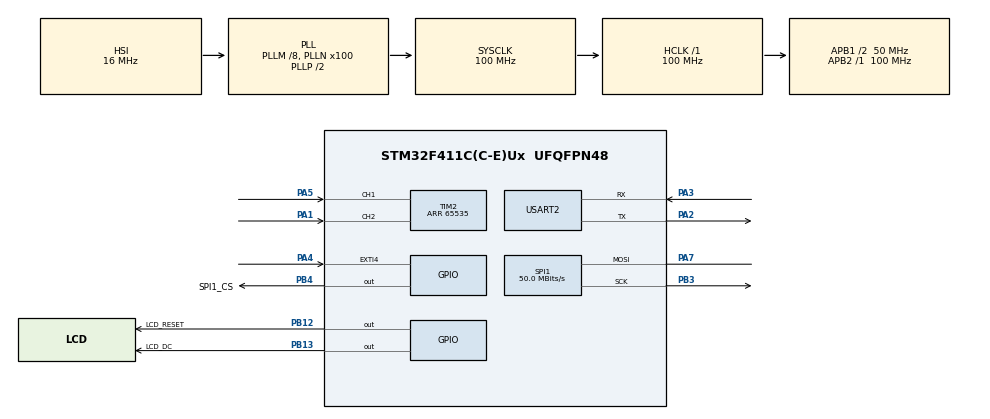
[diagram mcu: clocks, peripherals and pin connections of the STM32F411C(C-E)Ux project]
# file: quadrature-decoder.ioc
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FREERTOS.Tasks01=encoderTask,-3,512,taskEncoder,Default,NULL,Dynamic,NULL,NULL;lcdTask,2,512,taskLCD,Default,NULL,Dynamic,NULL,NULL
Mcu.Family=STM32F4
Mcu.Name=STM32F411C(C-E)Ux
Mcu.Package=UFQFPN48
NVIC.EXTI4_IRQn=true\:15\:0\:true\:false\:true\:true\:true\:true\:true
NVIC.PriorityGroup=NVIC_PRIORITYGROUP_4
PA1.GPIO_PuPd=GPIO_PULLDOWN
PA1.GPIO_Speed=GPIO_SPEED_FREQ_HIGH
PA1.Signal=S_TIM2_CH2
PA13.Mode=Serial_Wire
PA13.Signal=SYS_JTMS-SWDIO
PA14.Mode=Serial_Wire
PA14.Signal=SYS_JTCK-SWCLK
PA2.Mode=Asynchronous
PA2.Signal=USART2_TX
PA3.Mode=Asynchronous
PA3.Signal=USART2_RX
PA4.GPIO_ModeDefaultEXTI=GPIO_MODE_IT_FALLING
PA4.GPIO_PuPd=GPIO_PULLDOWN
PA4.Signal=GPXTI4
PA5.GPIO_PuPd=GPIO_PULLDOWN
PA5.GPIO_Speed=GPIO_SPEED_FREQ_HIGH
PA5.Signal=S_TIM2_CH1_ETR
PA7.Mode=Simplex_Bidirectional_Master
PA7.Signal=SPI1_MOSI
PB12.GPIO_Label=LCD_RESET
PB12.Signal=GPIO_Output
PB13.GPIO_Label=LCD_DC
PB13.Signal=GPIO_Output
PB3.Mode=Simplex_Bidirectional_Master
PB3.Signal=SPI1_SCK
PB4.GPIO_Label=SPI1_CS
PB4.Signal=GPIO_Output
PH0\ -\ OSC_IN.Mode=HSE-External-Oscillator
PH0\ -\ OSC_IN.Signal=RCC_OSC_IN
PH1\ -\ OSC_OUT.Mode=HSE-External-Oscillator
PH1\ -\ OSC_OUT.Signal=RCC_OSC_OUT
ProjectManager.HeapSize=0x200
ProjectManager.StackSize=0x400
ProjectManager.TargetToolchain=STM32CubeIDE
RCC.48MHZClocksFreq_Value=50000000
RCC.AHBFreq_Value=100000000
RCC.APB1CLKDivider=RCC_HCLK_DIV2
RCC.APB1Freq_Value=50000000
RCC.APB1TimFreq_Value=100000000
RCC.APB2Freq_Value=100000000
RCC.APB2TimFreq_Value=100000000
RCC.CortexFreq_Value=100000000
RCC.HCLKFreq_Value=100000000
RCC.HSE_VALUE=25000000
RCC.HSI_VALUE=16000000
RCC.LSE_VALUE=32768
RCC.PLLM=8
RCC.PLLN=100
RCC.SYSCLKFreq_VALUE=100000000
RCC.SYSCLKSource=RCC_SYSCLKSOURCE_PLLCLK
RCC.VCOOutputFreq_Value=200000000
SH.S_TIM2_CH1_ETR.0=TIM2_CH1,Encoder_Interface
SH.S_TIM2_CH2.0=TIM2_CH2,Encoder_Interface
SPI1.CalculateBaudRate=50.0 MBits/s
SPI1.Direction=SPI_DIRECTION_1LINE
SPI1.Mode=SPI_MODE_MASTER
SPI1.VirtualType=VM_MASTER
TIM2.EncoderMode=TIM_ENCODERMODE_TI12
TIM2.IC1Filter=10
TIM2.IC2Filter=10
TIM2.Period=65535
USART2.VirtualMode=VM_ASYNC
VP_FREERTOS_VS_CMSIS_V1.Mode=CMSIS_V1
board=custom

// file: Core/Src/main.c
/* USER CODE BEGIN Header */
/**
 ******************************************************************************
 * @file           : main.c
 * @brief          : Main program body
 ******************************************************************************
 * @attention
 *
 * Copyright (c) 2023 STMicroelectronics.
 * All rights reserved.
 *
 * This software is licensed under terms that can be found in the LICENSE file
 * in the root directory of this software component.
 * If no LICENSE file comes with this software, it is provided AS-IS.
 *
 ******************************************************************************
 */
/* USER CODE END Header */
#include "main.h"
#include "cmsis_os.h"

/* USER CODE BEGIN Includes */
#include <stdio.h>
#include <string.h>
#include <math.h>
/* USER CODE END Includes */

SPI_HandleTypeDef hspi1;

TIM_HandleTypeDef htim2;

UART_HandleTypeDef huart2;

osThreadId encoderTaskHandle;
osThreadId lcdTaskHandle;
/* USER CODE BEGIN PV */

//Counts per rotation
static int cpr = 0;

//Rotation direction
static uint8_t rotation = 0;

//Counts for individual channels
static uint32_t aChannel = 0;
static uint32_t bChannel = 0;
static uint32_t zChannel = 0;

//Counts overflows per second
static int overflowCount = 0;

//RTOS message queue
QueueHandle_t msgQueue;

/* USER CODE END PV */

void SystemClock_Config(void);
static void MX_GPIO_Init(void);
static void MX_TIM2_Init(void);
static void MX_USART2_UART_Init(void);
static void MX_SPI1_Init(void);
void taskEncoder(void const * argument);
void taskLCD(void const * argument);

/* USER CODE BEGIN PFP */
void HAL_GPIO_EXTI_Callback(uint16_t GPIO_Pin);
/* USER CODE END PFP */

int main(void)
{

  /* MCU Configuration--------------------------------------------------------*/

  /* Reset of all peripherals, Initializes the Flash interface and the Systick. */
  HAL_Init();

  /* Configure the system clock */
  SystemClock_Config();

  /* Initialize all configured peripherals */
  MX_GPIO_Init();
  MX_TIM2_Init();
  MX_USART2_UART_Init();
  MX_SPI1_Init();
  /* USER CODE BEGIN 2 */

	ST7735_Init();	//initialise the lcd display
  /* USER CODE END 2 */

  /* Create the thread(s) */
  /* definition and creation of encoderTask */
  osThreadDef(encoderTask, taskEncoder, osPriorityIdle, 0, 512);
  encoderTaskHandle = osThreadCreate(osThread(encoderTask), NULL);

  /* definition and creation of lcdTask */
  osThreadDef(lcdTask, taskLCD, osPriorityHigh, 0, 512);
  lcdTaskHandle = osThreadCreate(osThread(lcdTask), NULL);

  /* Start scheduler */
  osKernelStart();

  /* We should never get here as control is now taken by the scheduler */
  /* Infinite loop */
	while (1) {

	}
}

void SystemClock_Config(void)
{
  RCC_OscInitTypeDef RCC_OscInitStruct = {0};
  RCC_ClkInitTypeDef RCC_ClkInitStruct = {0};

  /** Configure the main internal regulator output voltage
  */
  __HAL_RCC_PWR_CLK_ENABLE();
  __HAL_PWR_VOLTAGESCALING_CONFIG(PWR_REGULATOR_VOLTAGE_SCALE1);

  /** Initializes the RCC Oscillators according to the specified parameters
  * in the RCC_OscInitTypeDef structure.
  */
  RCC_OscInitStruct.OscillatorType = RCC_OSCILLATORTYPE_HSI;
  RCC_OscInitStruct.HSIState = RCC_HSI_ON;
  RCC_OscInitStruct.HSICalibrationValue = RCC_HSICALIBRATION_DEFAULT;
  RCC_OscInitStruct.PLL.PLLState = RCC_PLL_ON;
  RCC_OscInitStruct.PLL.PLLSource = RCC_PLLSOURCE_HSI;
  RCC_OscInitStruct.PLL.PLLM = 8;
  RCC_OscInitStruct.PLL.PLLN = 100;
  RCC_OscInitStruct.PLL.PLLP = RCC_PLLP_DIV2;
  RCC_OscInitStruct.PLL.PLLQ = 4;
  if (HAL_RCC_OscConfig(&RCC_OscInitStruct) != HAL_OK)
  {
    Error_Handler();
  }

  /** Initializes the CPU, AHB and APB buses clocks
  */
  RCC_ClkInitStruct.ClockType = RCC_CLOCKTYPE_HCLK|RCC_CLOCKTYPE_SYSCLK
                              |RCC_CLOCKTYPE_PCLK1|RCC_CLOCKTYPE_PCLK2;
  RCC_ClkInitStruct.SYSCLKSource = RCC_SYSCLKSOURCE_PLLCLK;
  RCC_ClkInitStruct.AHBCLKDivider = RCC_SYSCLK_DIV1;
  RCC_ClkInitStruct.APB1CLKDivider = RCC_HCLK_DIV2;
  RCC_ClkInitStruct.APB2CLKDivider = RCC_HCLK_DIV1;

  if (HAL_RCC_ClockConfig(&RCC_ClkInitStruct, FLASH_LATENCY_3) != HAL_OK)
  {
    Error_Handler();
  }
}

static void MX_SPI1_Init(void)
{

  /* SPI1 parameter configuration*/
  hspi1.Instance = SPI1;
  hspi1.Init.Mode = SPI_MODE_MASTER;
  hspi1.Init.Direction = SPI_DIRECTION_1LINE;
  hspi1.Init.DataSize = SPI_DATASIZE_8BIT;
  hspi1.Init.CLKPolarity = SPI_POLARITY_LOW;
  hspi1.Init.CLKPhase = SPI_PHASE_1EDGE;
  hspi1.Init.NSS = SPI_NSS_SOFT;
  hspi1.Init.BaudRatePrescaler = SPI_BAUDRATEPRESCALER_2;
  hspi1.Init.FirstBit = SPI_FIRSTBIT_MSB;
  hspi1.Init.TIMode = SPI_TIMODE_DISABLE;
  hspi1.Init.CRCCalculation = SPI_CRCCALCULATION_DISABLE;
  hspi1.Init.CRCPolynomial = 10;
  if (HAL_SPI_Init(&hspi1) != HAL_OK)
  {
    Error_Handler();
  }

}

static void MX_TIM2_Init(void)
{

  TIM_Encoder_InitTypeDef sConfig = {0};
  TIM_MasterConfigTypeDef sMasterConfig = {0};

  htim2.Instance = TIM2;
  htim2.Init.Prescaler = 0;
  htim2.Init.CounterMode = TIM_COUNTERMODE_UP;
  htim2.Init.Period = 65535;
  htim2.Init.ClockDivision = TIM_CLOCKDIVISION_DIV1;
  htim2.Init.AutoReloadPreload = TIM_AUTORELOAD_PRELOAD_DISABLE;
  sConfig.EncoderMode = TIM_ENCODERMODE_TI12;
  sConfig.IC1Polarity = TIM_ICPOLARITY_RISING;
  sConfig.IC1Selection = TIM_ICSELECTION_DIRECTTI;
  sConfig.IC1Prescaler = TIM_ICPSC_DIV1;
  sConfig.IC1Filter = 10;
  sConfig.IC2Polarity = TIM_ICPOLARITY_RISING;
  sConfig.IC2Selection = TIM_ICSELECTION_DIRECTTI;
  sConfig.IC2Prescaler = TIM_ICPSC_DIV1;
  sConfig.IC2Filter = 10;
  if (HAL_TIM_Encoder_Init(&htim2, &sConfig) != HAL_OK)
  {
    Error_Handler();
  }
  sMasterConfig.MasterOutputTrigger = TIM_TRGO_RESET;
  sMasterConfig.MasterSlaveMode = TIM_MASTERSLAVEMODE_DISABLE;
  if (HAL_TIMEx_MasterConfigSynchronization(&htim2, &sMasterConfig) != HAL_OK)
  {
    Error_Handler();
  }

}

static void MX_USART2_UART_Init(void)
{

  huart2.Instance = USART2;
  huart2.Init.BaudRate = 115200;
  huart2.Init.WordLength = UART_WORDLENGTH_8B;
  huart2.Init.StopBits = UART_STOPBITS_1;
  huart2.Init.Parity = UART_PARITY_NONE;
  huart2.Init.Mode = UART_MODE_TX_RX;
  huart2.Init.HwFlowCtl = UART_HWCONTROL_NONE;
  huart2.Init.OverSampling = UART_OVERSAMPLING_16;
  if (HAL_UART_Init(&huart2) != HAL_OK)
  {
    Error_Handler();
  }

}

static void MX_GPIO_Init(void)
{
  GPIO_InitTypeDef GPIO_InitStruct = {0};

  /* GPIO Ports Clock Enable */
  __HAL_RCC_GPIOH_CLK_ENABLE();
  __HAL_RCC_GPIOA_CLK_ENABLE();
  __HAL_RCC_GPIOB_CLK_ENABLE();

  /*Configure GPIO pin Output Level */
  HAL_GPIO_WritePin(GPIOB, LCD_RESET_Pin|LCD_DC_Pin|SPI1_CS_Pin, GPIO_PIN_RESET);

  /*Configure GPIO pin : PA4 */
  GPIO_InitStruct.Pin = GPIO_PIN_4;
  GPIO_InitStruct.Mode = GPIO_MODE_IT_FALLING;
  GPIO_InitStruct.Pull = GPIO_PULLDOWN;
  HAL_GPIO_Init(GPIOA, &GPIO_InitStruct);

  /*Configure GPIO pins : LCD_RESET_Pin LCD_DC_Pin SPI1_CS_Pin */
  GPIO_InitStruct.Pin = LCD_RESET_Pin|LCD_DC_Pin|SPI1_CS_Pin;
  GPIO_InitStruct.Mode = GPIO_MODE_OUTPUT_PP;
  GPIO_InitStruct.Pull = GPIO_NOPULL;
  GPIO_InitStruct.Speed = GPIO_SPEED_FREQ_LOW;
  HAL_GPIO_Init(GPIOB, &GPIO_InitStruct);

  /* EXTI interrupt init*/
  HAL_NVIC_SetPriority(EXTI4_IRQn, 15, 0);
  HAL_NVIC_EnableIRQ(EXTI4_IRQn);

}

/* USER CODE BEGIN 4 */

/**
 * @brief GPIO interrupt callback function
 * @param GPIO_Pin the corresponding pin that raised an interrupt
 */
void HAL_GPIO_EXTI_Callback(uint16_t GPIO_Pin) {

	//Check if pin 4 raised the interrupt
	if (GPIO_Pin == GPIO_PIN_4) {

		overflowCount++;
		aChannel = 0;
		bChannel = 0;

		uint32_t count = TIM2->CNT;	//get the timer count

		zChannel++;

		if (rotation == CW_ROTATION) {
			cpr = count;
			__HAL_TIM_SET_COUNTER(&htim2, 0);
		} else if (rotation == CCW_ROTATION) {
			cpr = 65535 - count;
			__HAL_TIM_SET_COUNTER(&htim2, 65535);
		}

		return;
	}
}

/**
 * @brief timer callback function for overflow
 * @param htim timer handle
 */
void HAL_TIM_PeriodElapsedCallback(TIM_HandleTypeDef *htim) {
	overflowCount++;
}

/**
 * @brief draw the border around the screen
 */
void LCD_DrawBorder(void) {
	ST7735_FillScreenFast(RED);
	ST7735_FillRectangleFast(4, 4, ST7735_WIDTH - 4, ST7735_HEIGHT - 4, WHITE);
}

/**
 * @brief draw the start screen of the lcd
 */
void LCD_Start(void) {
	LCD_DrawBorder();	//draw border

	ST7735_WriteString(14, ST7735_HEIGHT / 2 - 7, "Encoder Test", Font_11x18,
			BLACK, WHITE);

	HAL_Delay(2500);

	LCD_DrawBorder();

	ST7735_WriteString(5, 14, "Count:", Font_11x18, BLACK, WHITE);
	LCD_TimerCount(0);

	ST7735_FillRectangleFast(6, 86, 60, 120, WHITE);
	ST7735_WriteString(6, 86, "A:", Font_7x10, BLACK, WHITE);
	ST7735_WriteString(6, 97, "B:", Font_7x10, BLACK, WHITE);
	ST7735_WriteString(6, 108, "Z:", Font_7x10, BLACK, WHITE);

	encoderInstance_t temp;
	temp.aCount = 0;
	temp.bCount = 0;
	temp.zCount = 0;
	LCD_ChannelCount(temp);

	ST7735_WriteString(5, 34, "P.P.R:", Font_11x18, BLACK, WHITE);
	LCD_PulsesPerRotation(0);

	ST7735_WriteString(16, 54, "DIR.:", Font_11x18, BLACK, WHITE);
	LCD_RotationDirection(NO_ROTATION);

	LCD_RpmFreq(0, 0);
	LCD_Degrees(0, 0);
}

/**
 * @brief Update the rpm, frequency
 * @param rpm rotations per minute
 * @param freq frequency of rotation
 * @param count	current encoder count
 */
void LCD_RpmFreq(double rpm, double frequency) {
	char rpmBuf[20], freqBuf[20];
	memset(rpmBuf, 0, sizeof(rpmBuf));
	memset(freqBuf, 0, sizeof(freqBuf));
	sprintf(rpmBuf, "%.1frpm", rpm);
	sprintf(freqBuf, "%.1fHz", frequency);

	ST7735_FillRectangleFast(80, 86, 154, 107, WHITE);
	if ((strlen(rpmBuf) < 10) || (strlen(freqBuf) < 10)) {
		ST7735_WriteString(80, 86, rpmBuf, Font_7x10, BLACK, WHITE);
		ST7735_WriteString(80, 97, freqBuf, Font_7x10, BLACK, WHITE);
	} else {
		ST7735_WriteString(80, 86, "error", Font_7x10, BLACK, WHITE);
		ST7735_WriteString(80, 97, "error", Font_7x10, BLACK, WHITE);
	}

}

/**
 * @brief update the position
 * @param count encoder time count
 * @param pulseRotation pulses per rotation
 */
void LCD_Degrees(int64_t count, int pulseRotation) {

	ST7735_FillRectangleFast(80, 108, 154, 120, WHITE);

	double pos;
	if (pulseRotation != 0) {
		pos = (((double) abs(count) / (double) pulseRotation) * 360);
	} else {
		pos = 0;
	}
	char posBuf[20];
	memset(posBuf, 0, sizeof (posBuf));
	sprintf(posBuf, "%.1fdeg", pos);
	if (strlen(posBuf) < 10) {
		ST7735_WriteString(80, 108, posBuf, Font_7x10, BLACK, WHITE);
	} else {
		ST7735_WriteString(80, 108, "error", Font_7x10, BLACK, WHITE);
	}
}

/**
 * @brief update the rotation direction
 * @param rotation direction
 */
void LCD_RotationDirection(int direction) {
	char *buf;

	if (direction == NO_ROTATION) {
		buf = "NULL";
	} else if (direction == CW_ROTATION) {
		buf = "CW";
	} else {
		buf = "CCW";
	}

	ST7735_FillRectangleFast(80, 54, 130, 74, WHITE);
	ST7735_WriteString(80, 54, buf, Font_11x18, BLACK, WHITE);
}

/**
 * @brief update the pulses per rotation
 * @param pulses pulses per rotation
 */
void LCD_PulsesPerRotation(int pulses) {
	char buffer[10];
	memset(buffer, 0, sizeof(buffer));
	sprintf(buffer, "%d", pulses);

	uint8_t len = strlen(buffer);
	uint8_t pos = (int) (90 - (len - 1) / 2 * 11);

	ST7735_FillRectangleFast(69, 34, 140, 56, WHITE);
	ST7735_WriteString(pos, 34, buffer, Font_11x18, BLACK, WHITE);
}

/**
 * @brief update the timer count
 */
void LCD_TimerCount(int64_t count) {
	char buffer[6];
	memset(buffer, 0, sizeof(buffer));
	sprintf(buffer, "%ld", count);

	uint8_t len = strlen(buffer);
	uint8_t pos = (int) (90 - (len - 1) / 2 * 11);

	ST7735_FillRectangleFast(70, 14, 140, 32, WHITE);
	ST7735_WriteString(pos, 14, buffer, Font_11x18, BLACK, WHITE);
}

/**
 * @brief update the channel counts
 * @param data msg struct
 */
void LCD_ChannelCount(encoderInstance_t data) {
	char buffer[5];
	memset(buffer, 0, sizeof(buffer));
	ST7735_FillRectangleFast(24, 86, 75, 120, WHITE);

	sprintf(buffer, "%ld", data.aCount);
	ST7735_WriteString(24, 86, buffer, Font_7x10, BLACK, WHITE);
	memset(buffer, 0, sizeof(buffer));

	sprintf(buffer, "%ld", data.bCount);
	ST7735_WriteString(24, 97, buffer, Font_7x10, BLACK, WHITE);
	memset(buffer, 0, sizeof(buffer));

	sprintf(buffer, "%ld", data.zCount);
	ST7735_WriteString(24, 108, buffer, Font_7x10, BLACK, WHITE);
	memset(buffer, 0, sizeof(buffer));
}

/* USER CODE END 4 */

void taskEncoder(void const * argument)
{
  /* USER CODE BEGIN 5 */

	//Initialise message queue
	msgQueue = xQueueCreate(1, sizeof(encoderInstance_t));

	encoderInstance_t msgStruct;

	uint32_t prevTime = HAL_GetTick();
	uint32_t time = HAL_GetTick();
	uint32_t stillTime = 0;
	uint32_t rotationTime = 0;

	int64_t timerCount = 0;
	int64_t prevTimerCount = timerCount;
	int64_t timerCountPrint = timerCount;
	int64_t timerCountSecond = timerCount;

	uint32_t pps = 0;	//pulses per second
	uint32_t rps = 0;
	double rpm;
	double freq = 0;

	char buf[100];
	memset(buf, 0, sizeof(buf));

	sprintf(buf, "Start Decoding\r\n");
	HAL_UART_Transmit(&huart2, buf, sizeof(buf), 10);
	memset(buf, 0, sizeof(buf));

	HAL_TIM_Encoder_Start(&htim2, TIM_CHANNEL_ALL);	//start the encoder

	/* Infinite loop */
	for (;;) {

		timerCount = TIM2->CNT;	//get timer count

		//Check if the timer has changed value, set rotation direction appropriately
		if ((timerCount - prevTimerCount) > 0) {
			//clockwise rotation
			stillTime = HAL_GetTick();
			rotation = CW_ROTATION;
		} else if ((timerCount - prevTimerCount) < 0) {
			//counter clockwise rotation
			stillTime = HAL_GetTick();
			rotation = CCW_ROTATION;
		} else {
			//no rotation, no velocity
			if ((HAL_GetTick() - stillTime) >= 500) {
				rotation = NO_ROTATION;
			}
		}

		//Calculate rpm and frequency every second
		if ((HAL_GetTick() - rotationTime) >= 200) {

			if (overflowCount > 0) {
				if (timerCount < timerCountSecond) {
					pps = 4096 * overflowCount - timerCountSecond + timerCount;
				} else if (timerCount > timerCountSecond) {
					pps = 4096 * overflowCount + timerCountSecond - timerCount;
				} else {
					pps = 4096 * overflowCount;
				}
			} else {
				pps = abs(timerCount - timerCountSecond);
			}

			if (cpr == 0) {
				rpm = 0;
			} else {
				rpm = pps * 5 * 60 / cpr;
			}

			freq = 0.0166667 * rpm;
			rotationTime = HAL_GetTick();
			pps = 0;
			overflowCount = 0;
			timerCountSecond = timerCount;
		}

		prevTimerCount = timerCount;

		//Adjust timer value for user friendly value
		if (timerCount <= 10000) {
			timerCountPrint = timerCount;
		} else if (timerCount >= 50000) {
			timerCountPrint = -(65536 - timerCount);
		}

		if (timerCountPrint > 0) {
			aChannel = (int) ceil(timerCountPrint / 2.00);
			bChannel = timerCountPrint - aChannel;
		} else if (timerCountPrint < 0) {
			aChannel = (int) ceil(timerCountPrint / 2.00);
			bChannel = timerCountPrint - aChannel;
		} else {
			aChannel = 0;
			bChannel = 0;
		}

		//Every 100ms send parameters to struct
		if ((HAL_GetTick() - prevTime) >= 0) {
			msgStruct.timerCount = timerCountPrint;
			msgStruct.rpm = rpm;
			msgStruct.freq = freq;
			msgStruct.rotationDirection = rotation;
			msgStruct.aCount = aChannel;
			msgStruct.bCount = bChannel;
			msgStruct.zCount = zChannel;
			msgStruct.pulsesPerRotation = cpr;

			//Overwrite current message so params in struct are most current
			if (msgQueue != NULL) {
				xQueueOverwrite(msgQueue, &msgStruct);
			}

			prevTime = HAL_GetTick();
		}

		osDelay(1);
	}
  /* USER CODE END 5 */
}

void taskLCD(void const * argument)
{
  /* USER CODE BEGIN taskLCD */

	LCD_Start();

	encoderInstance_t msgStruct;
	encoderInstance_t msgStructPrev;
	char buf[100];
	memset(buf, 0, sizeof(buf));

	/* Infinite loop */
	for (;;) {
		if (msgQueue != NULL) {
			if (xQueueReceive(msgQueue, &msgStruct, (TickType_t) 0) == pdPASS) {

				if (msgStruct.timerCount != msgStructPrev.timerCount) {
					LCD_TimerCount(msgStruct.timerCount);
				}
				if ((msgStruct.aCount != msgStructPrev.aCount)
						|| (msgStruct.bCount != msgStructPrev.bCount)
						|| (msgStruct.zCount != msgStructPrev.zCount)) {
					LCD_ChannelCount(msgStruct);
				}
				if (msgStruct.pulsesPerRotation
						!= msgStructPrev.pulsesPerRotation) {
					LCD_PulsesPerRotation(msgStruct.pulsesPerRotation);
				}
				if (msgStruct.rotationDirection
						!= msgStructPrev.rotationDirection) {
					LCD_RotationDirection(msgStruct.rotationDirection);
				}
				if (msgStruct.rpm != msgStructPrev.rpm) {
					LCD_Degrees(msgStruct.timerCount, msgStruct.pulsesPerRotation);
					LCD_RpmFreq(msgStruct.rpm, msgStruct.freq);
				}
			}
		}

		memcpy(&msgStructPrev, &msgStruct, sizeof(encoderInstance_t));
		osDelay(25);
	}
  /* USER CODE END taskLCD */
}

void Error_Handler(void)
{
	__disable_irq();
	while (1) {
	}
}
